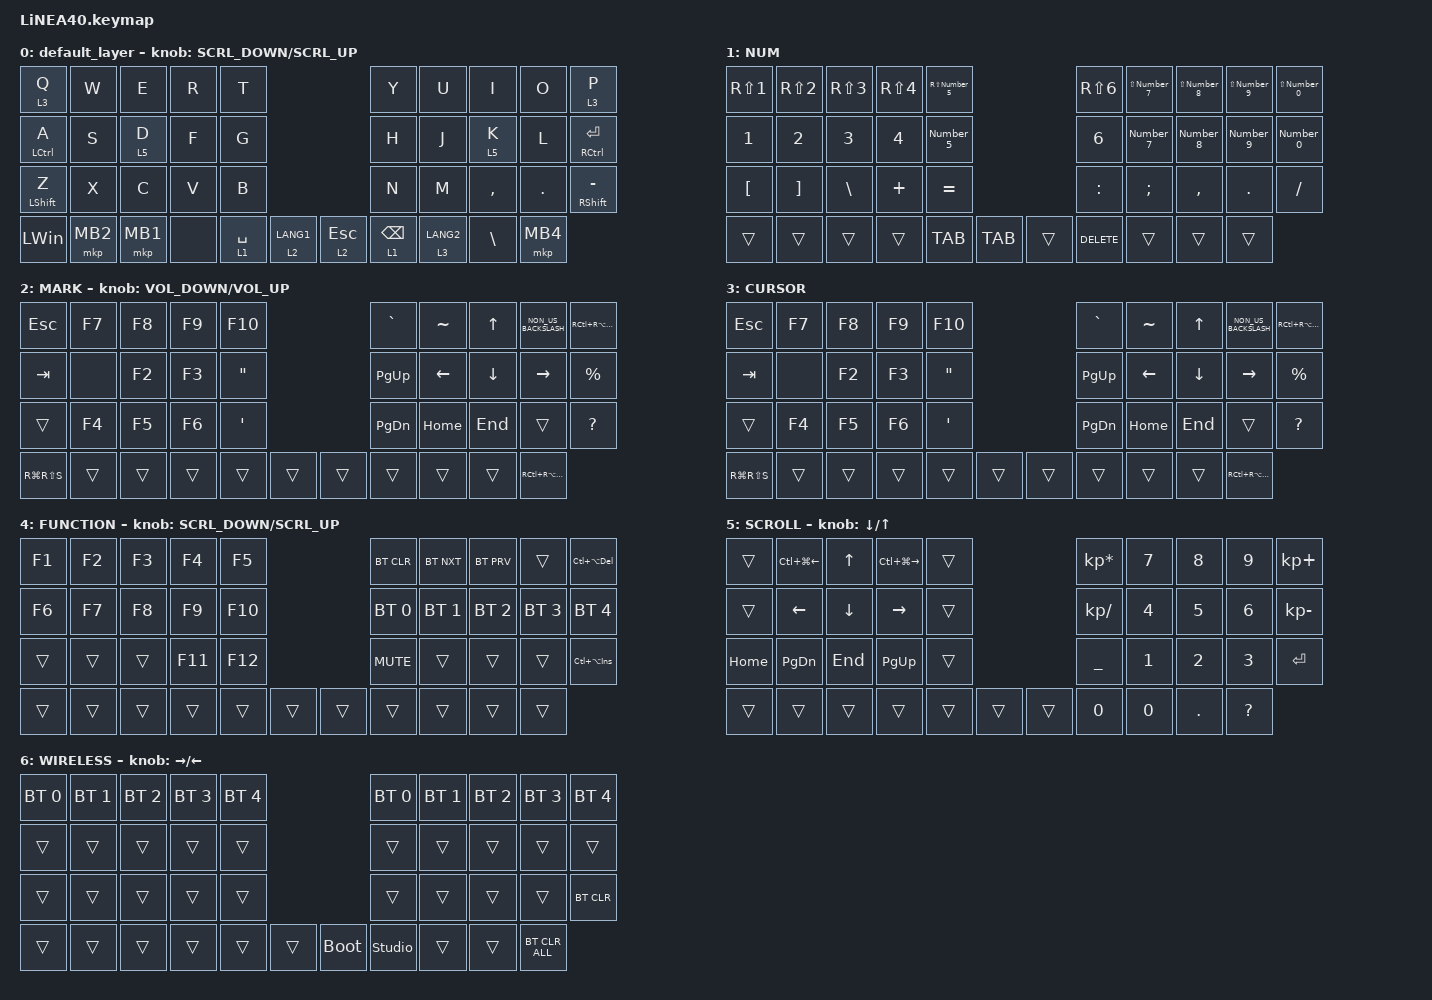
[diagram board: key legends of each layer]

#define ZMK_POINTING_DEFAULT_SCRL_VAL 150

#include <dt-bindings/zmk/input_transform.h>
#include <input/processors.dtsi>
#include <zephyr/dt-bindings/input/input-event-codes.h>
#include <behaviors.dtsi>
#include <dt-bindings/zmk/bt.h>
#include <dt-bindings/zmk/keys.h>
#include <dt-bindings/zmk/pointing.h>

#define NUM 1
#define MARK 2
#define CURSOR 3
#define FUNCTION 4
#define SCROLL 5
#define WIRELESS 6

//mouse cursol

&mmv {
    delay-ms = <20>;
    trigger-period-ms = <5>;
    time-to-max-speed-ms = <100>;
    acceleration-exponent = <2>;
};

//mouse scroll

&msc {
    delay-ms = <3>;
    trigger-period-ms = <3>;
    time-to-max-speed-ms = <100>;
    acceleration-exponent = <0>;
};

/ {
    input_processors {
        zip_wheel_scaler: zip_wheel_scaler {
            compatible = "zmk,input-processor-scaler";
            #input-processor-cells = <2>;
            type = <INPUT_EV_REL>;
            codes = <INPUT_REL_WHEEL>;
            track-remainders;
        };
    };
};

&msc_input_listener {
    speed_up {
        layers = <FUNCTION>;
        input-processors = <&zip_wheel_scaler 3 1>; //スクロールを3倍速にする
    };
};

&trackball_listener {
    scroller {
        layers = <SCROLL>;
        input-processors =
            <&zip_xy_transform INPUT_TRANSFORM_Y_INVERT>,
            //スクロール方向を逆転
            <&zip_xy_to_scroll_mapper>;
    };
};

/ {
    combos {
        compatible = "zmk,combos";

        ZenkakuHankaku {
            bindings = <&kp GRAVE>;
            key-positions = <11 12>;
        };

        DeleteKey {
            bindings = <&kp DEL>;
            key-positions = <7 8>;
        };

        InsertKey {
            bindings = <&kp INS>;
            key-positions = <6 7>;
        };

        CenterClick {
            bindings = <&mkp MB3>;
            key-positions = <17 16>;
        };

        RightClick {
            bindings = <&mkp MB2>;
            key-positions = <18 17>;
        };

        PrevClick {
            bindings = <&mkp MB4>;
            key-positions = <27 28>;
        };

        ClickNext {
            bindings = <&mkp MB5>;
            key-positions = <26 27>;
        };
    };

    behaviors {
        re_kp: sensor_rotate_kp {
            compatible = "zmk,behavior-sensor-rotate-var";
            #sensor-binding-cells = <2>;
            bindings = <&kp>, <&kp>;
        };

        mouse_scrl: mouse_wheel_scrl {
            compatible = "zmk,behavior-sensor-rotate-var";
            #sensor-binding-cells = <2>;
            bindings = <&msc>, <&msc>;

            tap-ms = <20>;
        };
    };

    keymap {
        compatible = "zmk,keymap";

        default_layer {
            bindings = <
&lt 3 Q          &kp W         &kp E               &kp R    &kp T                                      &kp Y        &kp U  &kp I                &kp O          &lt 3 P
&mt LCTRL A      &kp S         &lt 5 D             &kp F    &kp G                                      &kp H        &kp J  &lt 5 K              &kp L          &mt RCTRL ENTER
&mt LEFT_SHIFT Z &kp X         &kp C               &kp V    &kp B                                      &kp N        &kp M  &kp COMMA            &kp DOT        &mt RIGHT_SHIFT MINUS
&kp LEFT_WIN  &mkp MB2  &mkp MB1  &none  &lt 1 SPACE  &lt 2 LANG1    &lt 2 ESC  &lt 1 BSPC         &lt 3 LANG2  &kp BACKSLASH  &mkp MB4
            >;

            sensor-bindings = <&mouse_scrl SCRL_DOWN SCRL_UP>;
        };

        //1

        NUM {
            bindings = <
&kp RS(NUMBER_1)  &kp RS(NUMBER_2)   &kp RS(NUMBER_3)  &kp RS(NUMBER_4)  &kp RS(Number_5)              &kp RS(NUMBER_6)  &kp LS(Number_7)     &kp LS(Number_8)  &kp LS(Number_9)  &kp LS(Number_0)
&kp NUMBER_1      &kp NUMBER_2       &kp NUMBER_3      &kp NUMBER_4      &kp Number_5                        &kp NUMBER_6      &kp Number_7         &kp Number_8      &kp Number_9      &kp Number_0
&kp LEFT_BRACKET  &kp RIGHT_BRACKET  &kp BACKSLASH     &kp PLUS          &kp EQUAL                     &kp COLON         &kp SEMICOLON  &kp COMMA   &kp PERIOD  &kp SLASH
&trans  &trans  &trans  &trans  &TAB     &TAB                                                     &trans  &DELETE            &trans  &trans  &trans
            >;
        };

        //2

        MARK {
            bindings = <
&kp ESC        &kp F7  &kp F8  &kp F9   &kp F10                                    &kp GRAVE      &kp TILDE       &kp UP_ARROW    &kp NON_US_BACKSLASH  &kp RC(RA(END))
&kp TAB        &none   &kp F2  &kp F3   &kp DOUBLE_QUOTES          &kp PG_UP      &kp LEFT_ARROW  &kp DOWN_ARROW  &kp RIGHT_ARROW       &kp PERCENT
&trans         &kp F4  &kp F5  &kp F6   &kp SQT               &kp PAGE_DOWN  &kp HOME        &kp END         &trans                &kp QUESTION
&kp RG(RS(S))    &trans                  &trans        &trans                   &trans  &trans    &trans  &trans                   &trans      &trans   &kp RC(RA(DELETE))
            >;

            sensor-bindings = <&re_kp C_VOLUME_DOWN C_VOLUME_UP>;
        };

        //3

        CURSOR {
            bindings = <
&kp ESC        &kp F7  &kp F8  &kp F9   &kp F10                                    &kp GRAVE      &kp TILDE       &kp UP_ARROW    &kp NON_US_BACKSLASH  &kp RC(RA(END))
&kp TAB        &none   &kp F2  &kp F3   &kp DOUBLE_QUOTES           &kp PG_UP      &kp LEFT_ARROW  &kp DOWN_ARROW  &kp RIGHT_ARROW       &kp PERCENT
&trans         &kp F4  &kp F5  &kp F6   &kp SQT                &kp PAGE_DOWN  &kp HOME        &kp END         &trans                &kp QUESTION
&kp RG(RS(S))    &trans                  &trans        &trans                   &trans  &trans    &trans  &trans                   &trans      &trans   &kp RC(RA(DELETE))
            >;
        };

        //4

        FUNCTION {
            bindings = <
&kp F1  &kp F2  &kp F3  &kp F4   &kp F5                     &bt BT_CLR    &bt BT_NXT    &bt BT_PRV     &trans  &kp LC(LA(DELETE))
&kp F6  &kp F7  &kp F8  &kp F9   &kp F10                    &bt BT_SEL 0  &bt BT_SEL 1  &bt BT_SEL 2  &bt BT_SEL 3 &bt BT_SEL 4
&trans  &trans  &trans  &kp F11  &kp F12                    &kp C_MUTE  &trans  &trans               &trans  &kp LC(LA(INS))
&trans  &trans  &trans  &trans   &trans   &trans    &trans  &trans              &trans               &trans  &trans
            >;

            sensor-bindings = <&mouse_scrl SCRL_DOWN SCRL_UP>;
        };

        //5

        SCROLL {
            bindings = <
&trans    &kp LC(LG(LEFT_ARROW))  &kp UP_ARROW  &kp LC(LG(RIGHT_ARROW))  &trans                    &kp KP_MULTIPLY  &kp NUMBER_7  &kp NUMBER_8  &kp NUMBER_9  &kp KP_PLUS
&trans    &kp LEFT_ARROW          &kp DOWN      &kp RIGHT_ARROW          &trans                    &kp KP_SLASH     &kp NUMBER_4  &kp NUMBER_5  &kp NUMBER_6  &kp KP_MINUS
&kp HOME  &kp PAGE_DOWN           &kp END       &kp PAGE_UP              &trans                    &kp UNDER        &kp NUMBER_1  &kp NUMBER_2  &kp NUMBER_3  &kp ENTER
&trans    &trans                  &trans        &trans                   &trans  &trans    &trans  &kp NUMBER_0                   &kp NUMBER_0  &kp DOT       &kp QUESTION
            >;

            sensor-bindings = <&inc_dec_kp DOWN_ARROW UP_ARROW>;
        };

        //6
 
        WIRELESS {
            bindings = <
&bt BT_SEL 0  &bt BT_SEL 1  &bt BT_SEL 2  &bt BT_SEL 3  &bt BT_SEL 4                         &bt BT_SEL 0    &bt BT_SEL 1  &bt BT_SEL 2  &bt BT_SEL 3  &bt BT_SEL 4
&trans        &trans        &trans        &trans        &trans                               &trans          &trans        &trans        &trans        &trans
&trans        &trans        &trans        &trans        &trans                               &trans          &trans        &trans        &trans        &bt BT_CLR
&trans        &trans        &trans        &trans        &trans        &trans    &bootloader  &studio_unlock                &trans        &trans        &bt BT_CLR_ALL
            >;

            sensor-bindings = <&inc_dec_kp RIGHT_ARROW LEFT_ARROW>;
        };
    };
};
